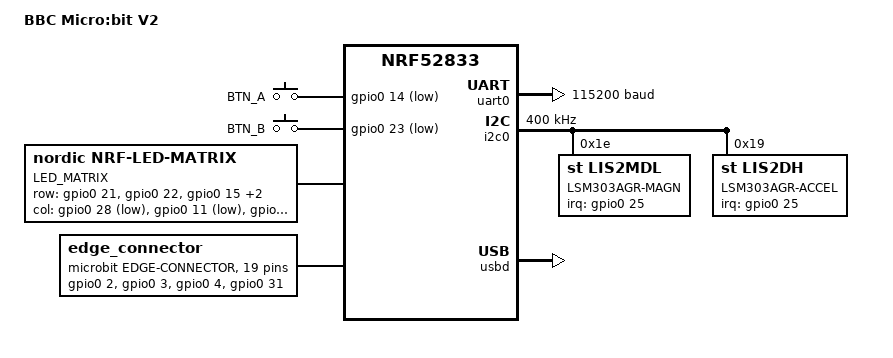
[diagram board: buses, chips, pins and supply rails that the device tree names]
/*
 * Copyright (c) 2020 Lingao Meng
 *
 * SPDX-License-Identifier: Apache-2.0
 */

/dts-v1/;
#include <nordic/nrf52833_qiaa.dtsi>
#include "bbc_microbit_v2-pinctrl.dtsi"

/ {
	model = "BBC Micro:bit V2";
	compatible = "bbc,microbit-v2";

	/* These aliases are provided for compatibility with samples */
	aliases {
		sw0 = &buttonA;
		sw1 = &buttonB;
		magn0 = &lsm303agr_magn;
	};

	chosen {
		zephyr,console = &uart0;
		zephyr,shell-uart = &uart0;
		zephyr,bt-mon-uart = &uart0;
		zephyr,bt-c2h-uart = &uart0;
		zephyr,sram = &sram0;
		zephyr,flash = &flash0;
		zephyr,code-partition = &slot0_partition;
		zephyr,display = &led_matrix;
	};

	gpio_keys {
		compatible = "gpio-keys";
		buttonA: button_0 {
			label = "BTN_A";
			gpios = <&gpio0 14 GPIO_ACTIVE_LOW>;
		};

		buttonB: button_1 {
			label = "BTN_B";
			gpios = <&gpio0 23 GPIO_ACTIVE_LOW>;
		};
	};

	led_matrix: led_matrix {
		compatible = "nordic,nrf-led-matrix";
		status = "okay";
		label = "LED_MATRIX";
		width = <5>;
		height = <5>;
		pixel-mapping = [00 01 02 03 04
				 10 11 12 13 14
				 20 21 22 23 24
				 30 31 32 33 34
				 40 41 42 43 44];
		row-gpios = <&gpio0 21 GPIO_ACTIVE_HIGH>,
			    <&gpio0 22 GPIO_ACTIVE_HIGH>,
			    <&gpio0 15 GPIO_ACTIVE_HIGH>,
			    <&gpio0 24 GPIO_ACTIVE_HIGH>,
			    <&gpio0 19 GPIO_ACTIVE_HIGH>;
		col-gpios = <&gpio0 28 GPIO_ACTIVE_LOW>,
			    <&gpio0 11 GPIO_ACTIVE_LOW>,
			    <&gpio0 31 GPIO_ACTIVE_LOW>,
			    <&gpio1  5 GPIO_ACTIVE_LOW>,
			    <&gpio0 30 GPIO_ACTIVE_LOW>;
		refresh-frequency = <50>;
		timer = <&timer4>;
		pwm = <&pwm0>;
		pixel-group-size = <4>;
	};

	edge_connector: connector {
		compatible = "microbit,edge-connector";
		#gpio-cells = <2>;
		gpio-map-mask = <0xffffffff 0xffffffc0>;
		gpio-map-pass-thru = <0 0x3f>;
		gpio-map = <0 0 &gpio0 2 0>,	/* P0 */
			   <1 0 &gpio0 3 0>,	/* P1 */
			   <2 0 &gpio0 4 0>,	/* P2 */
			   <3 0 &gpio0 31 0>,	/* P3 */
			   <4 0 &gpio0 28 0>,	/* P4 */
			   <5 0 &gpio0 14 0>,	/* P5 */
			   <6 0 &gpio1 5 0>,	/* P6 */
			   <7 0 &gpio0 11 0>,	/* P7 */
			   <8 0 &gpio0 10 0>,	/* P8 */
			   <9 0 &gpio0 9 0>,	/* P9 */
			   <10 0 &gpio0 30 0>,	/* P10 */
			   <11 0 &gpio0 23 0>,	/* P11 */
			   <12 0 &gpio0 12 0>,	/* P12 */
			   <13 0 &gpio0 17 0>,	/* P13 */
			   <14 0 &gpio0 1 0>,	/* P14 */
			   <15 0 &gpio0 13 0>,	/* P15 */
			   <16 0 &gpio1 2 0>,	/* P16 */
			   <19 0 &gpio0 26 0>,	/* P19 */
			   <20 0 &gpio1 0 0>;	/* P20 */
	};
};

&gpiote {
	status = "okay";
};

&gpio0 {
	status = "okay";
};

&gpio1 {
	status = "okay";
};

&uart0 {
	compatible = "nordic,nrf-uart";
	status = "okay";
	current-speed = <115200>;
	pinctrl-0 = <&uart0_default>;
	pinctrl-1 = <&uart0_sleep>;
	pinctrl-names = "default", "sleep";
};

&i2c0 {
	compatible = "nordic,nrf-twim";
	status = "okay";
	clock-frequency = <I2C_BITRATE_FAST>;

	/* See https://tech.microbit.org/hardware/i2c/ for board variants */

	pinctrl-0 = <&i2c0_default>;
	pinctrl-1 = <&i2c0_sleep>;
	pinctrl-names = "default", "sleep";
	lsm303agr_magn: lsm303agr-magn@1e {
		compatible = "st,lis2mdl", "st,lsm303agr-magn";
		status = "okay";
		reg = <0x1e>;
		label = "LSM303AGR-MAGN";
		irq-gpios = <&gpio0 25 GPIO_ACTIVE_HIGH>;	/* A3 */
	};

	lsm303agr-accel@19 {
		compatible = "st,lis2dh", "st,lsm303agr-accel";
		status = "okay";
		reg = <0x19>;
		label = "LSM303AGR-ACCEL";
		irq-gpios = <&gpio0 25 GPIO_ACTIVE_HIGH>;
	};
};

&flash0 {

	partitions {
		compatible = "fixed-partitions";
		#address-cells = <1>;
		#size-cells = <1>;

		boot_partition: partition@0 {
			label = "mcuboot";
			reg = <0x00000000 0xC000>;
		};
		slot0_partition: partition@c000 {
			label = "image-0";
			reg = <0x0000C000 0x32000>;
		};
		slot1_partition: partition@3e000 {
			label = "image-1";
			reg = <0x0003E000 0x32000>;
		};
		scratch_partition: partition@70000 {
			label = "image-scratch";
			reg = <0x00070000 0xA000>;
		};
		storage_partition: partition@7a000 {
			label = "storage";
			reg = <0x0007A000 0x00006000>;
		};
	};
};

zephyr_udc0: &usbd {
	compatible = "nordic,nrf-usbd";
	status = "okay";
};
